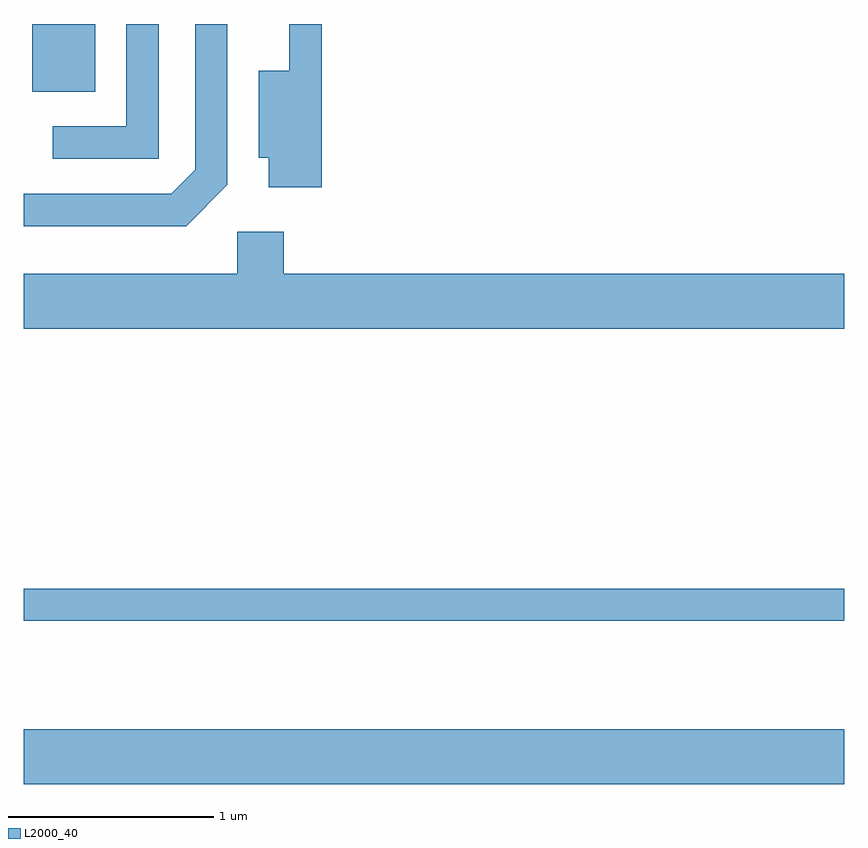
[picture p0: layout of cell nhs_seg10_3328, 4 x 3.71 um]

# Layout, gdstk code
import gdstk
lib = gdstk.Library(unit=1e-6, precision=1e-09)
def R(c, l, rs):  # rectangles x0, y0, x1, y1
    for r in rs: c.add(gdstk.rectangle(r[:2], r[2:], *l))
def P(c, l, *ps):  # polygons
    for p in ps: c.add(gdstk.Polygon(p, *l))
L2000_40 = (2000, 40)

nhs_seg10_3328 = lib.new_cell('nhs_seg10_3328')
R(nhs_seg10_3328, L2000_40, [(283.611,2102.816,287.611,2103.084), (283.611,2103.611,287.611,2103.769), (283.651,2106.191,283.959,2106.522)])
P(nhs_seg10_3328, L2000_40, [(284.604,2105.739),(284.604,2106.522),(284.446,2106.522),(284.446,2105.812),(284.329,2105.694),(283.611,2105.694),(283.611,2105.536),(284.402,2105.536)],
  [(285.064,2106.522),(284.906,2106.522),(284.906,2106.294),(284.756,2106.294),(284.756,2105.871),(284.806,2105.871),(284.806,2105.726),(285.064,2105.726)],
  [(284.269,2106.522),(284.111,2106.522),(284.111,2106.024),(283.753,2106.024),(283.753,2105.866),(284.269,2105.866)],
  [(287.611,2105.304),(284.879,2105.304),(284.879,2105.509),(284.651,2105.509),(284.651,2105.304),(283.611,2105.304),(283.611,2105.036),(287.611,2105.036)])

lib.write_gds('nhs_seg10_3328.gds')
